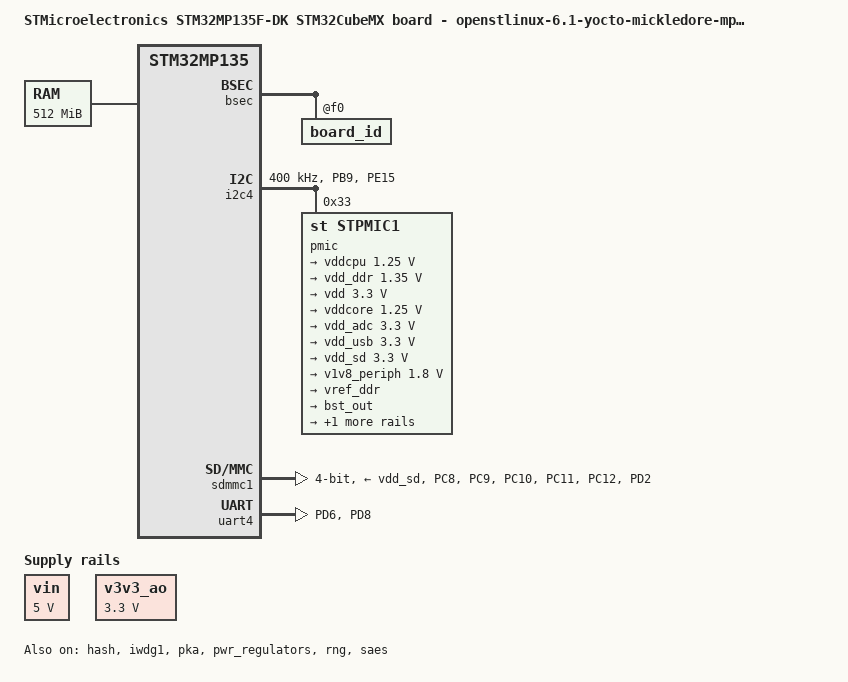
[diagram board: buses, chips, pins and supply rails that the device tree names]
// SPDX-License-Identifier: (GPL-2.0-or-later OR BSD-3-Clause)
/*
 * Copyright (C) 2024, STMicroelectronics - All Rights Reserved
 * Author: STM32CubeMX code generation for STMicroelectronics.
 */

/* For more information on Device Tree configuration, please refer to
 * https://wiki.st.com/stm32mpu/wiki/Category:Device_tree_configuration
 */

/dts-v1/;

#include <dt-bindings/pinctrl/stm32-pinfunc.h>
#include <dt-bindings/clock/stm32mp13-clksrc.h>
#include "stm32mp13-mx.dtsi"

#include "stm32mp135.dtsi"
#include "stm32mp13xf.dtsi"
#include "stm32mp13-ddr.dtsi"

/* USER CODE BEGIN includes */
#include "stm32mp13-pinctrl.dtsi"
/* USER CODE END includes */

/ {
	model = "STMicroelectronics STM32MP135F-DK STM32CubeMX board - openstlinux-6.1-yocto-mickledore-mpu-v24.06.26";
	compatible = "st,stm32mp135f-dk-mx", "st,stm32mp135f-dk", "st,stm32mp135";

	memory@c0000000 {
		device_type = "memory";
		reg = <0xc0000000 0x20000000>;

		/* USER CODE BEGIN memory */
		/* USER CODE END memory */
	};

	/* USER CODE BEGIN root */

	aliases{
		serial0 = &uart4;
		serial1 = &usart1;
		serial2 = &uart8;
		serial3 = &usart2;
	};

	chosen{
		stdout-path = "serial0:115200n8";
	};

	vin:vin{
		compatible = "regulator-fixed";
		regulator-name = "vin";
		regulator-min-microvolt = <5000000>;
		regulator-max-microvolt = <5000000>;
		regulator-always-on;
	};

	v3v3_ao:v3v3_ao{
		compatible = "regulator-fixed";
		regulator-name = "v3v3_ao";
		regulator-min-microvolt = <3300000>;
		regulator-max-microvolt = <3300000>;
		regulator-always-on;
	};
	/* USER CODE END root */

	clocks {
		/* USER CODE BEGIN clocks */
		/* USER CODE END clocks */

		clk_hsi: clk-hsi {
			clock-frequency = <64000000>;

			/* USER CODE BEGIN clk_hsi */
			/* USER CODE END clk_hsi */
		};
		clk_lse: clk-lse {
			clock-frequency = <32768>;
			st,drive = < LSEDRV_MEDIUM_HIGH >;

			/* USER CODE BEGIN clk_lse */
			/* USER CODE END clk_lse */
		};
		clk_hse: clk-hse {
			clock-frequency = <24000000>;

			/* USER CODE BEGIN clk_hse */
			/* USER CODE END clk_hse */
		};
		clk_i2sin: clk-i2sin {
			status = "disabled";

			/* USER CODE BEGIN clk_i2sin */
			/* USER CODE END clk_i2sin */
		};
	};

}; /*root*/

&pinctrl {
	i2c4_pins_mx: i2c4_mx-0 {
		pins {
			pinmux = <STM32_PINMUX('B', 9, AF6)>, /* I2C4_SDA */
					 <STM32_PINMUX('E', 15, AF6)>; /* I2C4_SCL */
			bias-disable;
			drive-open-drain;
			slew-rate = <0>;
		};
	};

	sdmmc1_pins_mx: sdmmc1_mx-0 {
		pins {
			pinmux = <STM32_PINMUX('C', 8, AF12)>, /* SDMMC1_D0 */
					 <STM32_PINMUX('C', 9, AF12)>, /* SDMMC1_D1 */
					 <STM32_PINMUX('C', 10, AF12)>, /* SDMMC1_D2 */
					 <STM32_PINMUX('C', 11, AF12)>, /* SDMMC1_D3 */
					 <STM32_PINMUX('C', 12, AF12)>, /* SDMMC1_CK */
					 <STM32_PINMUX('D', 2, AF12)>; /* SDMMC1_CMD */
			bias-disable;
			drive-push-pull;
			slew-rate = <1>;
		};
	};

	uart4_pins_mx: uart4_mx-0 {
		pins1 {
			pinmux = <STM32_PINMUX('D', 6, AF8)>; /* UART4_TX */
			bias-disable;
			drive-push-pull;
			slew-rate = <0>;
		};
		pins2 {
			pinmux = <STM32_PINMUX('D', 8, AF8)>; /* UART4_RX */
			bias-disable;
		};
	};

	/* USER CODE BEGIN pinctrl */
	/* USER CODE END pinctrl */
};

&bsec{
	status = "okay";

	/* USER CODE BEGIN bsec */

	board_id:board_id@f0{
		reg = <0xf0 0x4>;
		st,non-secure-otp;
	};
	/* USER CODE END bsec */
};

&hash{
	status = "okay";

	/* USER CODE BEGIN hash */
	/* USER CODE END hash */
};

&i2c4{
	pinctrl-names = "default";
	pinctrl-0 = <&i2c4_pins_mx>;
	status = "okay";

	/* USER CODE BEGIN i2c4 */
	i2c-scl-rising-time-ns = <185>;
	i2c-scl-falling-time-ns = <20>;
	clock-frequency = <400000>;

	pmic:stpmic@33{
		compatible = "st,stpmic1";
		reg = <0x33>;
		status = "okay";

		regulators{
			compatible = "st,stpmic1-regulators";
			buck1-supply = <&vin>;
			buck2-supply = <&vin>;
			buck3-supply = <&vin>;
			buck4-supply = <&vin>;
			ldo1-supply = <&vin>;
			ldo4-supply = <&vin>;
			ldo5-supply = <&vin>;
			ldo6-supply = <&vin>;
			vref_ddr-supply = <&vin>;
			pwr_sw1-supply = <&bst_out>;
			pwr_sw2-supply = <&v3v3_ao>;

			vddcpu:buck1{
				regulator-name = "vddcpu";
				regulator-min-microvolt = <1250000>;
				regulator-max-microvolt = <1250000>;
				regulator-always-on;
				regulator-over-current-protection;
			};

			vdd_ddr:buck2{
				regulator-name = "vdd_ddr";
				regulator-min-microvolt = <1350000>;
				regulator-max-microvolt = <1350000>;
				regulator-always-on;
				regulator-over-current-protection;
			};

			vdd:buck3{
				regulator-name = "vdd";
				regulator-min-microvolt = <3300000>;
				regulator-max-microvolt = <3300000>;
				regulator-always-on;
				st,mask-reset;
				regulator-over-current-protection;
			};

			vddcore:buck4{
				regulator-name = "vddcore";
				regulator-min-microvolt = <1250000>;
				regulator-max-microvolt = <1250000>;
				regulator-always-on;
				regulator-over-current-protection;
			};

			vdd_adc:ldo1{
				regulator-name = "vdd_adc";
				regulator-min-microvolt = <3300000>;
				regulator-max-microvolt = <3300000>;
			};

			vdd_usb:ldo4{
				regulator-name = "vdd_usb";
				regulator-min-microvolt = <3300000>;
				regulator-max-microvolt = <3300000>;
			};

			vdd_sd:ldo5{
				regulator-name = "vdd_sd";
				regulator-min-microvolt = <3300000>;
				regulator-max-microvolt = <3300000>;
				regulator-boot-on;
			};

			v1v8_periph:ldo6{
				regulator-name = "v1v8_periph";
				regulator-min-microvolt = <1800000>;
				regulator-max-microvolt = <1800000>;
			};

			vref_ddr:vref_ddr{
				regulator-name = "vref_ddr";
				regulator-always-on;
			};

			bst_out:boost{
				regulator-name = "bst_out";
			};

			v3v3_sw:pwr_sw2{
				regulator-name = "v3v3_sw";
				regulator-active-discharge = <1>;
				regulator-always-on;
			};
		};
	};
	/* USER CODE END i2c4 */
};

&iwdg1{
	status = "okay";

	/* USER CODE BEGIN iwdg1 */
	timeout-sec = <32>;
	/* USER CODE END iwdg1 */
};

&pka{
	status = "okay";

	/* USER CODE BEGIN pka */
	/* USER CODE END pka */
};

&pwr_regulators{
	status = "okay";

	/* USER CODE BEGIN pwr_regulators */
	vdd-supply = <&vdd>;
	vdd_3v3_usbfs-supply = <&vdd_usb>;
	/* USER CODE END pwr_regulators */
};

&rcc{
	status = "okay";

	/* USER CODE BEGIN rcc */
	/* USER CODE END rcc */

	st,clksrc = <
		CLK_MPU_PLL1P
		CLK_AXI_PLL2P
		CLK_MLAHBS_PLL3
		CLK_CKPER_HSE
		CLK_SDMMC1_PLL4P
		CLK_STGEN_HSE
		CLK_I2C4_HSI
		CLK_UART4_HSI
		CLK_RNG1_PLL4R
		CLK_SAES_AXI
	>;
	st,clkdiv = <
		DIV(DIV_MPU, 1)
		DIV(DIV_AXI, 0)
		DIV(DIV_MLAHB, 0)
		DIV(DIV_APB1, 1)
		DIV(DIV_APB2, 1)
		DIV(DIV_APB3, 1)
		DIV(DIV_APB4, 1)
		DIV(DIV_APB5, 2)
		DIV(DIV_APB6, 1)
	>;
	st,pll_vco {
		pll1_vco_1300Mhz: pll1-vco-1300Mhz {
			src = < CLK_PLL12_HSE >;
			divmn = < 2 80 >;
			frac = < 0x800 >;
		};
		pll2_vco_1066Mhz: pll2-vco-1066Mhz {
			src = < CLK_PLL12_HSE >;
			divmn = < 2 65 >;
			frac = < 0x1400 >;
		};
		pll3_vco_417Mhz: pll3-vco-417Mhz {
			src = < CLK_PLL3_HSE >;
			divmn = < 1 33 >;
			frac = < 0x1a04 >;
		};
		pll4_vco_600Mhz: pll4-vco-600Mhz {
			src = < CLK_PLL4_HSE >;
			divmn = < 1 49 >;
		};
		/* USER CODE BEGIN rcc_st-pll_vco */
		/* USER CODE END rcc_st-pll_vco */
	};

	pll1:st,pll@0 {
		compatible = "st,stm32mp1-pll";
		reg = <0>;

		st,pll = < &pll1_cfg1 >;

		pll1_cfg1: pll1_cfg1 {
			st,pll_vco = < &pll1_vco_1300Mhz >;
			st,pll_div_pqr = < 0 1 1 >;
		};
		/* USER CODE BEGIN pll1 */
		/* USER CODE END pll1 */
	};

	pll2:st,pll@1 {
		compatible = "st,stm32mp1-pll";
		reg = <1>;

		st,pll = < &pll2_cfg1 >;

		pll2_cfg1: pll2_cfg1 {
			st,pll_vco = < &pll2_vco_1066Mhz >;
			st,pll_div_pqr = < 1 1 0 >;
		};
		/* USER CODE BEGIN pll2 */
		/* USER CODE END pll2 */
	};

	pll3:st,pll@2 {
		compatible = "st,stm32mp1-pll";
		reg = <2>;

		st,pll = < &pll3_cfg1 >;

		pll3_cfg1: pll3_cfg1 {
			st,pll_vco = < &pll3_vco_417Mhz >;
			st,pll_div_pqr = < 1 16 36 >;
		};
		/* USER CODE BEGIN pll3 */
		/* USER CODE END pll3 */
	};

	pll4:st,pll@3 {
		compatible = "st,stm32mp1-pll";
		reg = <3>;

		st,pll = < &pll4_cfg1 >;

		pll4_cfg1: pll4_cfg1 {
			st,pll_vco = < &pll4_vco_600Mhz >;
			st,pll_div_pqr = < 11 59 11 >;
		};
		/* USER CODE BEGIN pll4 */
		/* USER CODE END pll4 */
	};

	st,rcc{
		status = "okay";

		/* USER CODE BEGIN rcc_st-rcc */
		/* USER CODE END rcc_st-rcc */
	};
};

&rng{
	status = "okay";

	/* USER CODE BEGIN rng */
	/* USER CODE END rng */
};

&saes{
	status = "okay";

	/* USER CODE BEGIN saes */
	/* USER CODE END saes */
};

&sdmmc1{
	pinctrl-names = "default";
	pinctrl-0 = <&sdmmc1_pins_mx>;
	status = "okay";

	/* USER CODE BEGIN sdmmc1 */
	disable-wp;
	st,neg-edge;
	bus-width = <4>;
	vmmc-supply = <&vdd_sd>;
	/* USER CODE END sdmmc1 */
};

&uart4{
	pinctrl-names = "default";
	pinctrl-0 = <&uart4_pins_mx>;
	status = "okay";

	/* USER CODE BEGIN uart4 */
	/* USER CODE END uart4 */
};

/* USER CODE BEGIN addons */

&cpu0{
	cpu-supply = <&vddcpu>;
};
/* USER CODE END addons */

